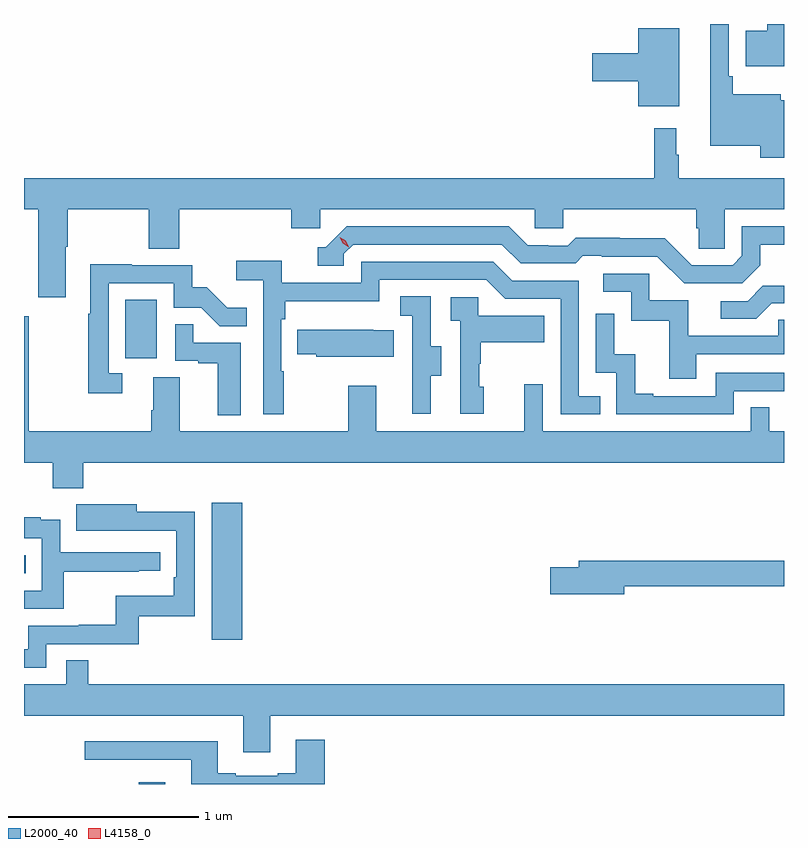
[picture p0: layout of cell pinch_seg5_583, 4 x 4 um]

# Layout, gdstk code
import gdstk
lib = gdstk.Library(unit=1e-6, precision=1e-09)
def R(c, l, rs):  # rectangles x0, y0, x1, y1
    for r in rs: c.add(gdstk.rectangle(r[:2], r[2:], *l))
def P(c, l, *ps):  # polygons
    for p in ps: c.add(gdstk.Polygon(p, *l))
L2000_40 = (2000, 40)
L4158_0 = (4158, 0)

pinch_seg5_583 = lib.new_cell('pinch_seg5_583')
R(pinch_seg5_583, L2000_40, [(1130.201,857.732,1130.341,857.74), (1130.585,858.492,1130.746,859.213), (1129.598,858.84,1129.607,858.936), (1130.132,859.974,1130.296,860.281)])
P(pinch_seg5_583, L2000_40, [(1133.598,861.732),(1133.51,861.732),(1133.51,861.697),(1133.396,861.697),(1133.396,861.509),(1133.598,861.509)],
  [(1133.598,861.332),(1133.581,861.332),(1133.581,861.361),(1133.327,861.361),(1133.327,861.457),(1133.307,861.457),(1133.307,861.732),(1133.21,861.732),(1133.21,861.092),(1133.472,861.092),(1133.472,861.027),(1133.598,861.027)],
  [(1133.047,861.709),(1132.832,861.709),(1132.832,861.578),(1132.59,861.578),(1132.59,861.431),(1132.832,861.431),(1132.832,861.299),(1133.047,861.299)],
  [(1129.819,860.56),(1129.827,860.56),(1129.827,860.756),(1130.254,860.756),(1130.254,860.548),(1130.414,860.548),(1130.414,860.756),(1131.005,860.756),(1131.005,860.658),(1131.156,860.658),(1131.156,860.756),(1132.287,860.756),(1132.287,860.658),(1132.437,860.658),(1132.437,860.756),(1133.135,860.756),(1133.135,860.658),(1133.149,860.658),(1133.149,860.548),(1133.286,860.548),(1133.286,860.756),(1133.598,860.756),(1133.598,860.92),(1133.044,860.92),(1133.044,861.044),(1133.032,861.044),(1133.032,861.184),(1132.915,861.184),(1132.915,860.92),(1129.598,860.92),(1129.598,860.756),(1129.672,860.756),(1129.672,860.295),(1129.819,860.295)],
  [(1133.473,860.461),(1133.473,860.571),(1133.598,860.571),(1133.598,860.667),(1133.376,860.667),(1133.376,860.511),(1133.328,860.463),(1133.112,860.463),(1132.97,860.605),(1132.734,860.605),(1132.734,860.608),(1132.501,860.608),(1132.459,860.565),(1132.356,860.565),(1132.356,860.568),(1132.249,860.568),(1132.15,860.667),(1131.297,860.667),(1131.186,860.556),(1131.143,860.556),(1131.143,860.46),(1131.282,860.46),(1131.282,860.523),(1131.33,860.571),(1132.113,860.571),(1132.212,860.472),(1132.501,860.472),(1132.54,860.511),(1132.639,860.511),(1132.639,860.508),(1132.932,860.508),(1133.073,860.367),(1133.379,860.367)],
  [(1130.965,859.904),(1130.952,859.904),(1130.952,860.177),(1130.972,860.177),(1130.972,860.273),(1131.468,860.273),(1131.468,860.385),(1132.032,860.385),(1132.131,860.286),(1132.422,860.286),(1132.422,859.677),(1132.631,859.677),(1132.631,859.773),(1132.518,859.773),(1132.518,860.382),(1132.168,860.382),(1132.069,860.481),(1131.372,860.481),(1131.372,860.37),(1130.954,860.37),(1130.954,860.486),(1130.715,860.486),(1130.715,860.384),(1130.856,860.384),(1130.856,859.677),(1130.965,859.677)],
  [(1130.116,859.893),(1130.043,859.893),(1130.043,860.367),(1130.385,860.367),(1130.385,860.238),(1130.53,860.238),(1130.628,860.14),(1130.771,860.14),(1130.771,860.239),(1130.667,860.239),(1130.56,860.346),(1130.484,860.346),(1130.484,860.463),(1130.165,860.463),(1130.165,860.468),(1129.947,860.468),(1129.947,860.207),(1129.935,860.207),(1129.935,859.788),(1130.116,859.788)],
  [(1133.137,859.995),(1133.598,859.995),(1133.598,860.175),(1133.569,860.175),(1133.569,860.091),(1133.095,860.091),(1133.095,860.277),(1132.89,860.277),(1132.89,860.418),(1132.647,860.418),(1132.647,860.322),(1132.794,860.322),(1132.794,860.169),(1132.993,860.169),(1132.993,859.866),(1133.137,859.866)],
  [(1133.533,860.262),(1133.598,860.262),(1133.598,860.354),(1133.486,860.354),(1133.406,860.274),(1133.265,860.274),(1133.265,860.181),(1133.452,860.181)],
  [(1131.739,859.882),(1131.793,859.882),(1131.793,860.037),(1131.738,860.037),(1131.738,860.3),(1131.579,860.3),(1131.579,860.197),(1131.642,860.197),(1131.642,859.893),(1131.641,859.893),(1131.641,859.68),(1131.739,859.68)],
  [(1132.018,859.824),(1131.993,859.824),(1131.993,859.943),(1132.003,859.943),(1132.003,860.057),(1132.337,860.057),(1132.337,860.197),(1131.99,860.197),(1131.99,860.295),(1131.843,860.295),(1131.843,860.171),(1131.894,860.171),(1131.894,859.68),(1132.018,859.68)],
  [(1133.334,859.8),(1133.598,859.8),(1133.598,859.896),(1133.238,859.896),(1133.238,859.773),(1132.909,859.773),(1132.909,859.786),(1132.814,859.786),(1132.814,859.994),(1132.704,859.994),(1132.704,860.206),(1132.608,860.206),(1132.608,859.896),(1132.716,859.896),(1132.716,859.677),(1133.334,859.677)],
  [(1129.91,859.424),(1133.598,859.424),(1133.598,859.588),(1133.52,859.588),(1133.52,859.715),(1133.424,859.715),(1133.424,859.588),(1132.329,859.588),(1132.329,859.837),(1132.232,859.837),(1132.232,859.588),(1131.451,859.588),(1131.451,859.828),(1131.304,859.828),(1131.304,859.588),(1130.419,859.588),(1130.419,859.874),(1130.279,859.874),(1130.279,859.7),(1130.267,859.7),(1130.267,859.588),(1129.624,859.588),(1129.624,860.194),(1129.598,860.194),(1129.598,859.424),(1129.75,859.424),(1129.75,859.289),(1129.91,859.289)],
  [(1130.74,860.055),(1130.489,860.055),(1130.489,860.153),(1130.394,860.153),(1130.394,859.959),(1130.515,859.959),(1130.515,859.947),(1130.618,859.947),(1130.618,859.673),(1130.74,859.673)],
  [(1131.545,860.119),(1131.437,860.119),(1131.437,860.122),(1131.037,860.122),(1131.037,859.993),(1131.135,859.993),(1131.135,859.982),(1131.545,859.982)],
  [(1129.716,858.468),(1130.203,858.468),(1130.203,858.615),(1130.496,858.615),(1130.496,859.166),(1130.191,859.166),(1130.191,859.204),(1129.873,859.204),(1129.873,859.064),(1130.087,859.064),(1130.087,859.065),(1130.4,859.065),(1130.4,858.82),(1130.387,858.82),(1130.387,858.724),(1130.082,858.724),(1130.082,858.569),(1129.885,858.569),(1129.885,858.564),(1129.62,858.564),(1129.62,858.441),(1129.598,858.441),(1129.598,858.345),(1129.716,858.345)],
  [(1129.808,858.85),(1130.201,858.85),(1130.201,858.855),(1130.314,858.855),(1130.314,858.951),(1129.788,858.951),(1129.788,859.123),(1129.685,859.123),(1129.685,859.135),(1129.598,859.135),(1129.598,859.026),(1129.692,859.026),(1129.692,858.75),(1129.598,858.75),(1129.598,858.654),(1129.808,858.654)],
  [(1132.756,858.772),(1133.598,858.772),(1133.598,858.908),(1132.517,858.908),(1132.517,858.872),(1132.368,858.872),(1132.368,858.73),(1132.756,858.73)],
  [(1130.893,858.092),(1133.598,858.092),(1133.598,858.256),(1129.937,858.256),(1129.937,858.383),(1129.821,858.383),(1129.821,858.256),(1129.598,858.256),(1129.598,858.092),(1130.753,858.092),(1130.753,857.898),(1130.893,857.898)],
  [(1131.182,857.965),(1131.029,857.965),(1131.029,857.788),(1130.933,857.788),(1130.933,857.775),(1130.713,857.775),(1130.713,857.788),(1130.617,857.788),(1130.617,857.956),(1129.917,857.956),(1129.917,857.859),(1130.477,857.859),(1130.477,857.732),(1131.182,857.732)])
P(pinch_seg5_583, L4158_0, [(1131.306,860.558),(1131.276,860.577),(1131.26,860.609),(1131.26,860.61),(1131.26,860.61),(1131.291,860.59),(1131.307,860.558),(1131.307,860.558)])

lib.write_gds('pinch_seg5_583.gds')
